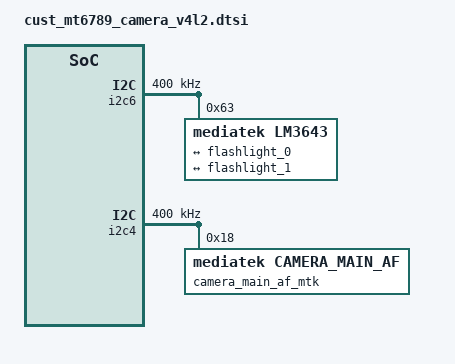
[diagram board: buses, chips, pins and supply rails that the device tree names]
// SPDX-License-Identifier: GPL-2.0
/* Copyright (c) 2020 MediaTek Inc. */

&i2c6 {
	status = "okay";
	clock-frequency = <400000>;
	#address-cells = <1>;
	#size-cells = <0>;
	lm3643:lm3643@63 {
		compatible = "mediatek,lm3643";
		reg = <0x63>;
		#cooling-cells = <2>;
	#address-cells = <1>;
	#size-cells = <0>;
		pinctrl-names = "default", "hwen_high", "hwen_low";
		pinctrl-0 = <&lm3643_pins_default>;
		pinctrl-1 = <&lm3643_pins_hwen_high>;
		pinctrl-2 = <&lm3643_pins_hwen_low>;
		status = "okay";
		flash@0{
			reg = <0>;
			type = <0>;
			ct = <0>;
			part = <0>;
			port@0 {
				fl_core_0: endpoint {
					remote-endpoint = <&flashlight_0>;
				};
			};
		};
		flash@1{
			reg = <1>;
			type = <0>;
			ct = <1>;
			part = <0>;
			port@1 {
				fl_core_1: endpoint {
					remote-endpoint = <&flashlight_1>;
				};
			};
		};
	};
};

&pio {
	lm3643_pins_default: default {
	};

	lm3643_pins_hwen_high: hwen_high {
		pins_cmd_dat {
			pinmux = <PINMUX_GPIO157__FUNC_GPIO157>;
			slew-rate = <1>;
			output-high;
		};
	};

	lm3643_pins_hwen_low: hwen_low {
		pins_cmd_dat {
			pinmux = <PINMUX_GPIO157__FUNC_GPIO157>;
			slew-rate = <1>;
			output-low;
		};
	};
};

&mtk_composite_v4l2_1 {
	port@0 {
		flashlight_0: endpoint {
			remote-endpoint = <&fl_core_0>;
		};
	};
	port@1 {
		flashlight_1: endpoint {
			remote-endpoint = <&fl_core_1>;
		};
	};
};

/* CAMERA AF */
&i2c4 {
	status = "okay";
	clock-frequency = <400000>;
	#address-cells = <1>;
	#size-cells = <0>;
	camera_main_af_mtk:camera_main_af@18 {
		compatible = "mediatek,camera_main_af";
		reg = <0x18>;
		status = "okay";
	};
};

#if 1
#if 0//main lens af gpio ctrl ldo move from camera_af_hw_node to kd_camera_hw1
&pio {
	main_lens_pins_default: default {
	};

	lmain_lens_pins_high: lmain_lens_pins_high {
		pins_cmd_dat {
			pinmux = <PINMUX_GPIO151__FUNC_GPIO151>;
			slew-rate = <1>;
			output-high;
		};
	};

	main_lens_pins_low: main_lens_pins_low {
		pins_cmd_dat {
			pinmux = <PINMUX_GPIO151__FUNC_GPIO151>;
			slew-rate = <1>;
			output-low;
		};
	};
};

&camera_af_hw_node {
		pinctrl-names = "default", "camaf_m1_gpio_on", "camaf_m1_gpio_off";
		pinctrl-0 = <&main_lens_pins_default>;
		pinctrl-1 = <&lmain_lens_pins_high>;
		pinctrl-2 = <&main_lens_pins_low>;
	status = "okay";
};
#endif
#else
&camera_af_hw_node {
	camaf_m1_pmic-supply = <&rt5133_ldo3>;
	camaf_m2_pmic-supply = <&rt5133_gpio1>;
	camaf_m3_pmic-supply = <&rt5133_gpio1>;
	status = "okay";
};
#endif
/* CAMERA AF end */
